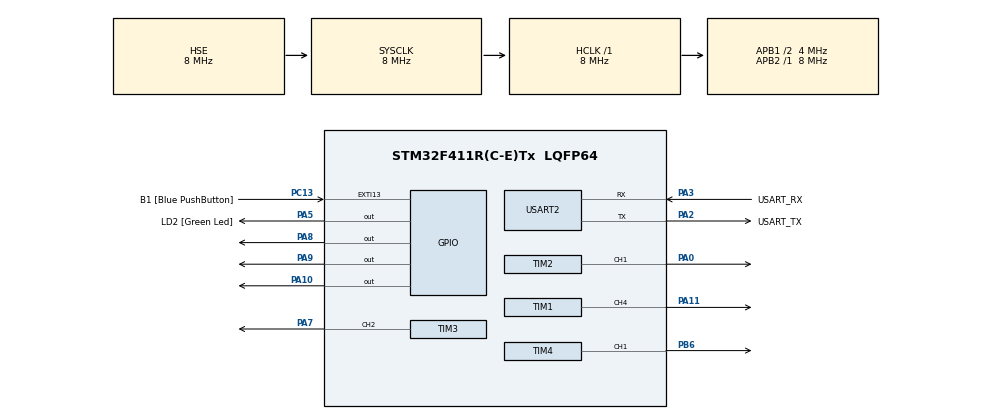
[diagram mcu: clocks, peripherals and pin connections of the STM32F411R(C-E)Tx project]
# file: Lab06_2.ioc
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FREERTOS.BinarySemaphores01=myBinarySem01,Dynamic,NULL
FREERTOS.Queues01=myQueue01,16,uint16_t,0,Dynamic,NULL,NULL
FREERTOS.Tasks01=defaultTask,0,128,StartDefaultTask,Default,NULL,Dynamic,NULL,NULL
FREERTOS.Timers01=myTimer01,Callback01,osTimerPeriodic,Default,NULL,Dynamic,NULL;myTimer02,Callback02,osTimerPeriodic,Default,NULL,Dynamic,NULL;myTimer03,Callback03,osTimerPeriodic,Default,NULL,Dynamic,NULL;myTimer04,Callback04,osTimerPeriodic,Default,NULL,Dynamic,NULL
FREERTOS.configUSE_TIMERS=1
Mcu.Family=STM32F4
Mcu.Name=STM32F411R(C-E)Tx
Mcu.Package=LQFP64
NVIC.PriorityGroup=NVIC_PRIORITYGROUP_4
NVIC.TIM1_UP_TIM10_IRQn=true\:5\:0\:false\:false\:true\:true\:true\:true\:true
NVIC.TIM2_IRQn=true\:5\:0\:false\:false\:true\:true\:true\:true\:true
NVIC.TIM3_IRQn=true\:5\:0\:false\:false\:true\:true\:true\:true\:true
NVIC.TIM4_IRQn=true\:5\:0\:false\:false\:true\:true\:true\:true\:true
PA0-WKUP.Signal=S_TIM2_CH1_ETR
PA10.Signal=GPIO_Output
PA11.Signal=S_TIM1_CH4
PA13.GPIO_Label=TMS
PA13.Mode=Serial_Wire
PA13.Signal=SYS_JTMS-SWDIO
PA14.GPIO_Label=TCK
PA14.Mode=Serial_Wire
PA14.Signal=SYS_JTCK-SWCLK
PA2.GPIO_Label=USART_TX
PA2.Mode=Asynchronous
PA2.Signal=USART2_TX
PA3.GPIO_Label=USART_RX
PA3.Mode=Asynchronous
PA3.Signal=USART2_RX
PA5.GPIO_Label=LD2 [Green Led]
PA5.Signal=GPIO_Output
PA7.Signal=S_TIM3_CH2
PA8.Signal=GPIO_Output
PA9.Signal=GPIO_Output
PB3.GPIO_Label=SWO
PB3.Signal=SYS_JTDO-SWO
PB6.Signal=S_TIM4_CH1
PC13-ANTI_TAMP.GPIO_Label=B1 [Blue PushButton]
PC13-ANTI_TAMP.GPIO_ModeDefaultEXTI=GPIO_MODE_IT_FALLING
PC13-ANTI_TAMP.Signal=GPXTI13
PC14-OSC32_IN.Mode=LSE-External-Oscillator
PC14-OSC32_IN.Signal=RCC_OSC32_IN
PC15-OSC32_OUT.Mode=LSE-External-Oscillator
PC15-OSC32_OUT.Signal=RCC_OSC32_OUT
PH0\ -\ OSC_IN.Mode=HSE-External-Clock-Source
PH0\ -\ OSC_IN.Signal=RCC_OSC_IN
PH1\ -\ OSC_OUT.Mode=HSE-External-Clock-Source
PH1\ -\ OSC_OUT.Signal=RCC_OSC_OUT
ProjectManager.HeapSize=0x200
ProjectManager.StackSize=0x400
ProjectManager.TargetToolchain=STM32CubeIDE
RCC.48MHZClocksFreq_Value=42000000
RCC.AHBFreq_Value=8000000
RCC.APB1CLKDivider=RCC_HCLK_DIV2
RCC.APB1Freq_Value=4000000
RCC.APB1TimFreq_Value=8000000
RCC.APB2Freq_Value=8000000
RCC.APB2TimFreq_Value=8000000
RCC.CortexFreq_Value=8000000
RCC.FLatency-AdvancedSettings=FLASH_LATENCY_0
RCC.HCLKFreq_Value=8000000
RCC.HSE_VALUE=8000000
RCC.HSI_VALUE=16000000
RCC.PLLN=336
RCC.PLLP=RCC_PLLP_DIV4
RCC.PLLSourceVirtual=RCC_PLLSOURCE_HSE
RCC.SYSCLKFreq_VALUE=8000000
RCC.SYSCLKSource=RCC_SYSCLKSOURCE_HSE
RCC.VCOOutputFreq_Value=168000000
SH.S_TIM1_CH4.0=TIM1_CH4,PWM Generation4 CH4
SH.S_TIM2_CH1_ETR.0=TIM2_CH1,PWM Generation1 CH1
SH.S_TIM3_CH2.0=TIM3_CH2,PWM Generation2 CH2
SH.S_TIM4_CH1.0=TIM4_CH1,PWM Generation1 CH1
TIM1.AutoReloadPreload=TIM_AUTORELOAD_PRELOAD_ENABLE
TIM1.AutomaticOutput=TIM_AUTOMATICOUTPUT_DISABLE
TIM1.Channel-PWM\ Generation4\ CH4=TIM_CHANNEL_4
TIM1.Period=999
TIM1.Prescaler=7999
TIM1.Pulse-PWM\ Generation4\ CH4=500
TIM2.Channel-PWM\ Generation1\ CH1=TIM_CHANNEL_1
TIM2.Period=35
TIM2.Prescaler=7999
TIM2.Pulse-PWM\ Generation1\ CH1=18
TIM3.Channel-PWM\ Generation2\ CH2=TIM_CHANNEL_2
TIM3.Period=255
TIM3.Prescaler=7999
TIM3.Pulse-PWM\ Generation2\ CH2=127
TIM4.Channel-PWM\ Generation1\ CH1=TIM_CHANNEL_1
TIM4.Period=127
TIM4.Prescaler=7999
TIM4.Pulse-PWM\ Generation1\ CH1=63
USART2.VirtualMode=VM_ASYNC
VP_FREERTOS_VS_CMSIS_V1.Mode=CMSIS_V1
VP_TIM1_VS_ClockSourceINT.Mode=Internal
VP_TIM2_VS_ClockSourceINT.Mode=Internal
VP_TIM3_VS_ClockSourceINT.Mode=Internal
VP_TIM4_VS_ClockSourceINT.Mode=Internal
board=NUCLEO-F411RE

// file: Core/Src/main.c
/* USER CODE BEGIN Header */
/**
  ******************************************************************************
  * @file           : main.c
  * @brief          : Main program body
  ******************************************************************************
  * @attention
  *
  * Copyright (c) 2024 STMicroelectronics.
  * All rights reserved.
  *
  * This software is licensed under terms that can be found in the LICENSE file
  * in the root directory of this software component.
  * If no LICENSE file comes with this software, it is provided AS-IS.
  *
  ******************************************************************************
  */
/* USER CODE END Header */
#include "main.h"
#include "cmsis_os.h"

TIM_HandleTypeDef htim1;
TIM_HandleTypeDef htim2;
TIM_HandleTypeDef htim3;
TIM_HandleTypeDef htim4;

UART_HandleTypeDef huart2;

osThreadId defaultTaskHandle;
osMessageQId myQueue01Handle;
osTimerId myTimer01Handle;
osTimerId myTimer02Handle;
osTimerId myTimer03Handle;
osTimerId myTimer04Handle;
osSemaphoreId myBinarySem01Handle;

void SystemClock_Config(void);
static void MX_GPIO_Init(void);
static void MX_USART2_UART_Init(void);
static void MX_TIM2_Init(void);
static void MX_TIM1_Init(void);
static void MX_TIM3_Init(void);
static void MX_TIM4_Init(void);
void StartDefaultTask(void const * argument);
void Callback01(void const * argument);
void Callback02(void const * argument);
void Callback03(void const * argument);
void Callback04(void const * argument);

/* USER CODE BEGIN 0 */

typedef struct {
	char buffer[32];
} mail_t;

osMailQDef(mail_box, 16, mail_t);
osMailQId mail_box;

osSemaphoreId two_slots;
osSemaphoreDef(two_slots);

void send_mail(void const * args) {
	while(1) {
		osSemaphoreWait(myBinarySem01Handle, osWaitForever);

		osEvent evt = osMailGet(mail_box, osWaitForever);
		if (evt.status == osEventMail) {
			mail_t *mail = (mail_t*)evt.value.p;
			HAL_UART_Transmit(&huart2, mail->buffer, strlen(mail->buffer), 1000);
			osMailFree(mail_box, mail);
		}

		osSemaphoreRelease(myBinarySem01Handle);
		osDelay(13);
	}
}

void UART_thingy1(void const *args) {
	int threadID = 0; // threadID is 0 for one thread and 1 for another
	int idx = 0;
	char buffer[32];
	while(1) {
		osSemaphoreWait(myBinarySem01Handle, osWaitForever);

		mail_t *mail = (mail_t*)osMailAlloc(mail_box, osWaitForever);
		sprintf(mail->buffer, "TID: %d %d\r\n", threadID, idx);
		osMailPut(mail_box, mail);

		idx ++;
		//HAL_UART_Transmit(&huart2, buffer, strlen(buffer), 1000);
		osSemaphoreRelease(myBinarySem01Handle);
		osDelay(12);
	}

}

void UART_thingy2(void const *args) {
	int threadID = 1; // threadID is 0 for one thread and 1 for another
	int idx = 0;
	char buffer[32];
	while(1) {
		osSemaphoreWait(myBinarySem01Handle, osWaitForever);

		mail_t *mail = (mail_t*)osMailAlloc(mail_box, osWaitForever);
		sprintf(mail->buffer, "TID: %d %d\r\n", threadID, idx);
		osMailPut(mail_box, mail);
		idx ++;

		//HAL_UART_Transmit(&huart2, buffer, strlen(buffer), 1000);
		osSemaphoreRelease(myBinarySem01Handle);
		osDelay(10);
	}

}
/* USER CODE END 0 */

int main(void)
{

  /* MCU Configuration--------------------------------------------------------*/

  /* Reset of all peripherals, Initializes the Flash interface and the Systick. */
  HAL_Init();

  /* Configure the system clock */
  SystemClock_Config();

  /* Initialize all configured peripherals */
  MX_GPIO_Init();
  MX_USART2_UART_Init();
  MX_TIM2_Init();
  MX_TIM1_Init();
  MX_TIM3_Init();
  MX_TIM4_Init();
  /* USER CODE BEGIN 2 */
  mail_box = osMailCreate(osMailQ(mail_box), NULL);
  /* USER CODE END 2 */

  /* Create the semaphores(s) */
  /* definition and creation of myBinarySem01 */
  osSemaphoreDef(myBinarySem01);
  myBinarySem01Handle = osSemaphoreCreate(osSemaphore(myBinarySem01), 1);

  /* Create the timer(s) */
  /* definition and creation of myTimer01 */
  osTimerDef(myTimer01, Callback01);
  myTimer01Handle = osTimerCreate(osTimer(myTimer01), osTimerPeriodic, NULL);

  /* definition and creation of myTimer02 */
  osTimerDef(myTimer02, Callback02);
  myTimer02Handle = osTimerCreate(osTimer(myTimer02), osTimerPeriodic, NULL);

  /* definition and creation of myTimer03 */
  osTimerDef(myTimer03, Callback03);
  myTimer03Handle = osTimerCreate(osTimer(myTimer03), osTimerPeriodic, NULL);

  /* definition and creation of myTimer04 */
  osTimerDef(myTimer04, Callback04);
  myTimer04Handle = osTimerCreate(osTimer(myTimer04), osTimerPeriodic, NULL);

  /* USER CODE BEGIN RTOS_TIMERS */
  /* start timers, add new ones, ... */
  /* definition and creation of myTimer01 */
  osTimerStart(myTimer01Handle, 50);
  osTimerStart(myTimer02Handle, 18);
  osTimerStart(myTimer03Handle, 128);
  osTimerStart(myTimer04Handle, 64);
  /* USER CODE END RTOS_TIMERS */

  /* Create the queue(s) */
  /* definition and creation of myQueue01 */
  osMessageQDef(myQueue01, 16, uint16_t);
  myQueue01Handle = osMessageCreate(osMessageQ(myQueue01), NULL);

  /* Create the thread(s) */
  /* definition and creation of defaultTask */
  osThreadDef(defaultTask, StartDefaultTask, osPriorityNormal, 0, 128);
  defaultTaskHandle = osThreadCreate(osThread(defaultTask), NULL);

  /* USER CODE BEGIN RTOS_THREADS */
  /* add threads, ... */
  osThreadDef(defaultTask1, UART_thingy1, 0, 0, 128);
  osThreadId defaultTaskHandle1 = osThreadCreate(osThread(defaultTask1), NULL);

  osThreadDef(defaultTask2, UART_thingy2, 0, 0, 128);
  osThreadId defaultTaskHandle2 = osThreadCreate(osThread(defaultTask2), NULL);

  osThreadDef(defaultTask3, send_mail, 0, 0, 128);
  osThreadId defaultTaskHandle3 = osThreadCreate(osThread(defaultTask3), NULL);

  /* USER CODE END RTOS_THREADS */

  /* Start scheduler */
  osKernelStart();

  /* We should never get here as control is now taken by the scheduler */
  /* Infinite loop */
  while (1)
  {

  }
}

void SystemClock_Config(void)
{
  RCC_OscInitTypeDef RCC_OscInitStruct = {0};
  RCC_ClkInitTypeDef RCC_ClkInitStruct = {0};

  /** Configure the main internal regulator output voltage
  */
  __HAL_RCC_PWR_CLK_ENABLE();
  __HAL_PWR_VOLTAGESCALING_CONFIG(PWR_REGULATOR_VOLTAGE_SCALE1);

  /** Initializes the RCC Oscillators according to the specified parameters
  * in the RCC_OscInitTypeDef structure.
  */
  RCC_OscInitStruct.OscillatorType = RCC_OSCILLATORTYPE_HSE;
  RCC_OscInitStruct.HSEState = RCC_HSE_BYPASS;
  RCC_OscInitStruct.PLL.PLLState = RCC_PLL_NONE;
  if (HAL_RCC_OscConfig(&RCC_OscInitStruct) != HAL_OK)
  {
    Error_Handler();
  }

  /** Initializes the CPU, AHB and APB buses clocks
  */
  RCC_ClkInitStruct.ClockType = RCC_CLOCKTYPE_HCLK|RCC_CLOCKTYPE_SYSCLK
                              |RCC_CLOCKTYPE_PCLK1|RCC_CLOCKTYPE_PCLK2;
  RCC_ClkInitStruct.SYSCLKSource = RCC_SYSCLKSOURCE_HSE;
  RCC_ClkInitStruct.AHBCLKDivider = RCC_SYSCLK_DIV1;
  RCC_ClkInitStruct.APB1CLKDivider = RCC_HCLK_DIV2;
  RCC_ClkInitStruct.APB2CLKDivider = RCC_HCLK_DIV1;

  if (HAL_RCC_ClockConfig(&RCC_ClkInitStruct, FLASH_LATENCY_0) != HAL_OK)
  {
    Error_Handler();
  }
}

static void MX_TIM1_Init(void)
{

  TIM_ClockConfigTypeDef sClockSourceConfig = {0};
  TIM_MasterConfigTypeDef sMasterConfig = {0};
  TIM_OC_InitTypeDef sConfigOC = {0};
  TIM_BreakDeadTimeConfigTypeDef sBreakDeadTimeConfig = {0};

  htim1.Instance = TIM1;
  htim1.Init.Prescaler = 7999;
  htim1.Init.CounterMode = TIM_COUNTERMODE_UP;
  htim1.Init.Period = 999;
  htim1.Init.ClockDivision = TIM_CLOCKDIVISION_DIV1;
  htim1.Init.RepetitionCounter = 0;
  htim1.Init.AutoReloadPreload = TIM_AUTORELOAD_PRELOAD_ENABLE;
  if (HAL_TIM_Base_Init(&htim1) != HAL_OK)
  {
    Error_Handler();
  }
  sClockSourceConfig.ClockSource = TIM_CLOCKSOURCE_INTERNAL;
  if (HAL_TIM_ConfigClockSource(&htim1, &sClockSourceConfig) != HAL_OK)
  {
    Error_Handler();
  }
  if (HAL_TIM_PWM_Init(&htim1) != HAL_OK)
  {
    Error_Handler();
  }
  sMasterConfig.MasterOutputTrigger = TIM_TRGO_RESET;
  sMasterConfig.MasterSlaveMode = TIM_MASTERSLAVEMODE_DISABLE;
  if (HAL_TIMEx_MasterConfigSynchronization(&htim1, &sMasterConfig) != HAL_OK)
  {
    Error_Handler();
  }
  sConfigOC.OCMode = TIM_OCMODE_PWM1;
  sConfigOC.Pulse = 500;
  sConfigOC.OCPolarity = TIM_OCPOLARITY_HIGH;
  sConfigOC.OCFastMode = TIM_OCFAST_DISABLE;
  sConfigOC.OCIdleState = TIM_OCIDLESTATE_RESET;
  sConfigOC.OCNIdleState = TIM_OCNIDLESTATE_RESET;
  if (HAL_TIM_PWM_ConfigChannel(&htim1, &sConfigOC, TIM_CHANNEL_4) != HAL_OK)
  {
    Error_Handler();
  }
  sBreakDeadTimeConfig.OffStateRunMode = TIM_OSSR_DISABLE;
  sBreakDeadTimeConfig.OffStateIDLEMode = TIM_OSSI_DISABLE;
  sBreakDeadTimeConfig.LockLevel = TIM_LOCKLEVEL_OFF;
  sBreakDeadTimeConfig.DeadTime = 0;
  sBreakDeadTimeConfig.BreakState = TIM_BREAK_DISABLE;
  sBreakDeadTimeConfig.BreakPolarity = TIM_BREAKPOLARITY_HIGH;
  sBreakDeadTimeConfig.AutomaticOutput = TIM_AUTOMATICOUTPUT_DISABLE;
  if (HAL_TIMEx_ConfigBreakDeadTime(&htim1, &sBreakDeadTimeConfig) != HAL_OK)
  {
    Error_Handler();
  }
  HAL_TIM_MspPostInit(&htim1);

}

static void MX_TIM2_Init(void)
{

  TIM_ClockConfigTypeDef sClockSourceConfig = {0};
  TIM_MasterConfigTypeDef sMasterConfig = {0};
  TIM_OC_InitTypeDef sConfigOC = {0};

  htim2.Instance = TIM2;
  htim2.Init.Prescaler = 7999;
  htim2.Init.CounterMode = TIM_COUNTERMODE_UP;
  htim2.Init.Period = 35;
  htim2.Init.ClockDivision = TIM_CLOCKDIVISION_DIV1;
  htim2.Init.AutoReloadPreload = TIM_AUTORELOAD_PRELOAD_DISABLE;
  if (HAL_TIM_Base_Init(&htim2) != HAL_OK)
  {
    Error_Handler();
  }
  sClockSourceConfig.ClockSource = TIM_CLOCKSOURCE_INTERNAL;
  if (HAL_TIM_ConfigClockSource(&htim2, &sClockSourceConfig) != HAL_OK)
  {
    Error_Handler();
  }
  if (HAL_TIM_PWM_Init(&htim2) != HAL_OK)
  {
    Error_Handler();
  }
  sMasterConfig.MasterOutputTrigger = TIM_TRGO_RESET;
  sMasterConfig.MasterSlaveMode = TIM_MASTERSLAVEMODE_DISABLE;
  if (HAL_TIMEx_MasterConfigSynchronization(&htim2, &sMasterConfig) != HAL_OK)
  {
    Error_Handler();
  }
  sConfigOC.OCMode = TIM_OCMODE_PWM1;
  sConfigOC.Pulse = 18;
  sConfigOC.OCPolarity = TIM_OCPOLARITY_HIGH;
  sConfigOC.OCFastMode = TIM_OCFAST_DISABLE;
  if (HAL_TIM_PWM_ConfigChannel(&htim2, &sConfigOC, TIM_CHANNEL_1) != HAL_OK)
  {
    Error_Handler();
  }
  HAL_TIM_MspPostInit(&htim2);

}

static void MX_TIM3_Init(void)
{

  TIM_ClockConfigTypeDef sClockSourceConfig = {0};
  TIM_MasterConfigTypeDef sMasterConfig = {0};
  TIM_OC_InitTypeDef sConfigOC = {0};

  htim3.Instance = TIM3;
  htim3.Init.Prescaler = 7999;
  htim3.Init.CounterMode = TIM_COUNTERMODE_UP;
  htim3.Init.Period = 255;
  htim3.Init.ClockDivision = TIM_CLOCKDIVISION_DIV1;
  htim3.Init.AutoReloadPreload = TIM_AUTORELOAD_PRELOAD_DISABLE;
  if (HAL_TIM_Base_Init(&htim3) != HAL_OK)
  {
    Error_Handler();
  }
  sClockSourceConfig.ClockSource = TIM_CLOCKSOURCE_INTERNAL;
  if (HAL_TIM_ConfigClockSource(&htim3, &sClockSourceConfig) != HAL_OK)
  {
    Error_Handler();
  }
  if (HAL_TIM_PWM_Init(&htim3) != HAL_OK)
  {
    Error_Handler();
  }
  sMasterConfig.MasterOutputTrigger = TIM_TRGO_RESET;
  sMasterConfig.MasterSlaveMode = TIM_MASTERSLAVEMODE_DISABLE;
  if (HAL_TIMEx_MasterConfigSynchronization(&htim3, &sMasterConfig) != HAL_OK)
  {
    Error_Handler();
  }
  sConfigOC.OCMode = TIM_OCMODE_PWM1;
  sConfigOC.Pulse = 127;
  sConfigOC.OCPolarity = TIM_OCPOLARITY_HIGH;
  sConfigOC.OCFastMode = TIM_OCFAST_DISABLE;
  if (HAL_TIM_PWM_ConfigChannel(&htim3, &sConfigOC, TIM_CHANNEL_2) != HAL_OK)
  {
    Error_Handler();
  }
  HAL_TIM_MspPostInit(&htim3);

}

static void MX_TIM4_Init(void)
{

  TIM_ClockConfigTypeDef sClockSourceConfig = {0};
  TIM_MasterConfigTypeDef sMasterConfig = {0};
  TIM_OC_InitTypeDef sConfigOC = {0};

  htim4.Instance = TIM4;
  htim4.Init.Prescaler = 7999;
  htim4.Init.CounterMode = TIM_COUNTERMODE_UP;
  htim4.Init.Period = 127;
  htim4.Init.ClockDivision = TIM_CLOCKDIVISION_DIV1;
  htim4.Init.AutoReloadPreload = TIM_AUTORELOAD_PRELOAD_DISABLE;
  if (HAL_TIM_Base_Init(&htim4) != HAL_OK)
  {
    Error_Handler();
  }
  sClockSourceConfig.ClockSource = TIM_CLOCKSOURCE_INTERNAL;
  if (HAL_TIM_ConfigClockSource(&htim4, &sClockSourceConfig) != HAL_OK)
  {
    Error_Handler();
  }
  if (HAL_TIM_PWM_Init(&htim4) != HAL_OK)
  {
    Error_Handler();
  }
  sMasterConfig.MasterOutputTrigger = TIM_TRGO_RESET;
  sMasterConfig.MasterSlaveMode = TIM_MASTERSLAVEMODE_DISABLE;
  if (HAL_TIMEx_MasterConfigSynchronization(&htim4, &sMasterConfig) != HAL_OK)
  {
    Error_Handler();
  }
  sConfigOC.OCMode = TIM_OCMODE_PWM1;
  sConfigOC.Pulse = 63;
  sConfigOC.OCPolarity = TIM_OCPOLARITY_HIGH;
  sConfigOC.OCFastMode = TIM_OCFAST_DISABLE;
  if (HAL_TIM_PWM_ConfigChannel(&htim4, &sConfigOC, TIM_CHANNEL_1) != HAL_OK)
  {
    Error_Handler();
  }
  HAL_TIM_MspPostInit(&htim4);

}

static void MX_USART2_UART_Init(void)
{

  huart2.Instance = USART2;
  huart2.Init.BaudRate = 115200;
  huart2.Init.WordLength = UART_WORDLENGTH_8B;
  huart2.Init.StopBits = UART_STOPBITS_1;
  huart2.Init.Parity = UART_PARITY_NONE;
  huart2.Init.Mode = UART_MODE_TX_RX;
  huart2.Init.HwFlowCtl = UART_HWCONTROL_NONE;
  huart2.Init.OverSampling = UART_OVERSAMPLING_16;
  if (HAL_UART_Init(&huart2) != HAL_OK)
  {
    Error_Handler();
  }

}

static void MX_GPIO_Init(void)
{
  GPIO_InitTypeDef GPIO_InitStruct = {0};

  /* GPIO Ports Clock Enable */
  __HAL_RCC_GPIOC_CLK_ENABLE();
  __HAL_RCC_GPIOH_CLK_ENABLE();
  __HAL_RCC_GPIOA_CLK_ENABLE();
  __HAL_RCC_GPIOB_CLK_ENABLE();

  /*Configure GPIO pin Output Level */
  HAL_GPIO_WritePin(GPIOA, LD2_Pin|GPIO_PIN_8|GPIO_PIN_9|GPIO_PIN_10, GPIO_PIN_RESET);

  /*Configure GPIO pin : B1_Pin */
  GPIO_InitStruct.Pin = B1_Pin;
  GPIO_InitStruct.Mode = GPIO_MODE_IT_FALLING;
  GPIO_InitStruct.Pull = GPIO_NOPULL;
  HAL_GPIO_Init(B1_GPIO_Port, &GPIO_InitStruct);

  /*Configure GPIO pins : LD2_Pin PA8 PA9 PA10 */
  GPIO_InitStruct.Pin = LD2_Pin|GPIO_PIN_8|GPIO_PIN_9|GPIO_PIN_10;
  GPIO_InitStruct.Mode = GPIO_MODE_OUTPUT_PP;
  GPIO_InitStruct.Pull = GPIO_NOPULL;
  GPIO_InitStruct.Speed = GPIO_SPEED_FREQ_LOW;
  HAL_GPIO_Init(GPIOA, &GPIO_InitStruct);

}

void StartDefaultTask(void const * argument)
{
  for(;;)
  {
    osDelay(1);
  }
}

/* Callback01 function */
void Callback01(void const * argument)
{
  /* USER CODE BEGIN Callback01 */
	HAL_GPIO_TogglePin(GPIOA,GPIO_PIN_5);
  /* USER CODE END Callback01 */
}

/* Callback02 function */
void Callback02(void const * argument)
{
  /* USER CODE BEGIN Callback02 */
	HAL_GPIO_TogglePin(GPIOA,GPIO_PIN_8);
  /* USER CODE END Callback02 */
}

/* Callback03 function */
void Callback03(void const * argument)
{
  /* USER CODE BEGIN Callback03 */
	HAL_GPIO_TogglePin(GPIOA,GPIO_PIN_10);
  /* USER CODE END Callback03 */
}

/* Callback04 function */
void Callback04(void const * argument)
{
  /* USER CODE BEGIN Callback04 */
	HAL_GPIO_TogglePin(GPIOA,GPIO_PIN_9);
  /* USER CODE END Callback04 */
}

void Error_Handler(void)
{
  __disable_irq();
  while (1)
  {
  }
}
